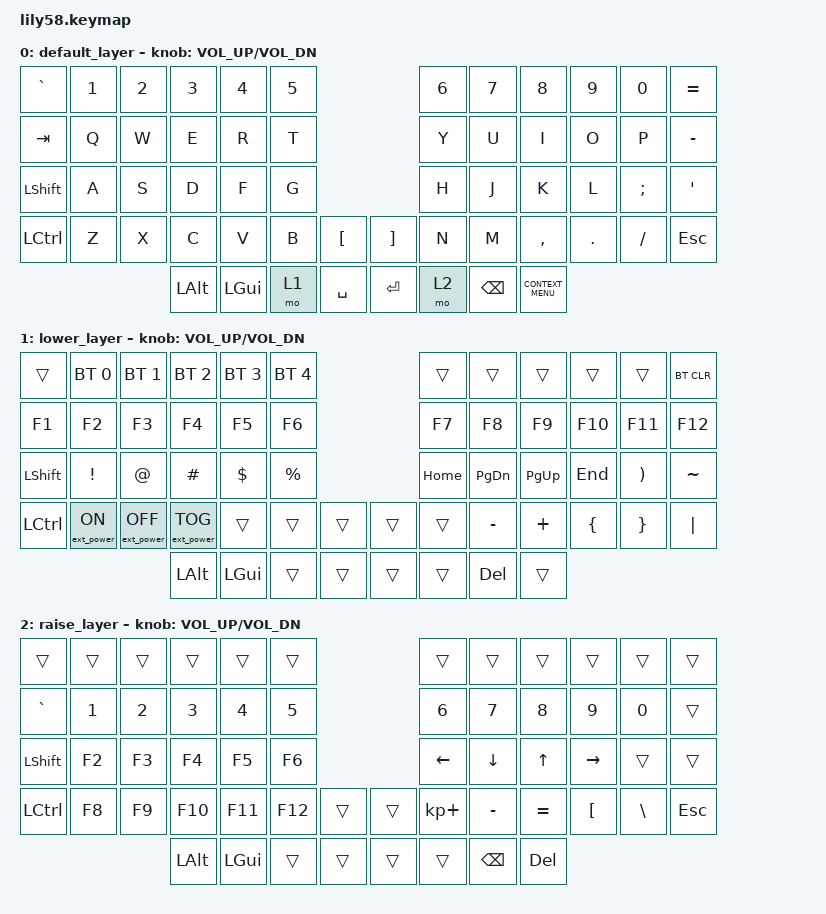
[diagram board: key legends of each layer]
/*
 * Copyright (c) 2020 The ZMK Contributors
 *
 * SPDX-License-Identifier: MIT
 */

#include <behaviors.dtsi>
#include <dt-bindings/zmk/bt.h>
#include <dt-bindings/zmk/ext_power.h>
#include <dt-bindings/zmk/keys.h>

/ {
    combos {
        compatible = "zmk,combos";

        combo_esc {
            timeout-ms = <50>;
            key-positions = <0 1>;
            bindings = <&kp ESC>;
        };
    };

    behaviors {
        ss_hs_modmorph: ss_hs_modmorph {
            compatible = "zmk,behavior-mod-morph";
            label = "SS_HS_MODMORPH";
            bindings = <&kp M>, <&kp RIGHT_BRACKET>;

            #binding-cells = <0>;
            mods = <(MOD_LSFT|MOD_RSFT)>;
        };

        kh_hs_tapdance: kh_hs_tapdance {
            compatible = "zmk,behavior-tap-dance";
            label = "KH_HS_TAPDANCE";
            #binding-cells = <0>;
            tapping-term-ms = <200>;
            bindings = <&kp LEFT_BRACKET>, <&kp RIGHT_BRACKET>;
        };

        hrm: hrm {
            compatible = "zmk,behavior-hold-tap";
            #binding-cells = <2>;
            flavor = "tap-preferred";
            tapping-term-ms = <200>;
            quick-tap-ms = <200>;
            require-prior-idle-ms = <125>;
            bindings = <&kp>, <&kp>;
        };
    };

    keymap {
        compatible = "zmk,keymap";

        default_layer {
            // ------------------------------------------------------------------------------------------------------------
            // |  ESC  |  1  |  2  |  3   |  4   |  5   |                   |  6   |  7    |  8    |  9   |   0   |   `   |
            // |  TAB  |  Q  |  W  |  E   |  R   |  T   |                   |  Y   |  U    |  I    |  O   |   P   |   -   |
            // |  CTRL |  A  |  S  |  D   |  F   |  G   |                   |  H   |  J    |  K    |  L   |   ;   |   '   |
            // | SHIFT |  Z  |  X  |  C   |  V   |  B   |   "["  |  |  "]"  |  N   |  M    |  ,    |  .   |   /   | SHIFT |
            //                     | ALT  | GUI  | LOWER|  SPACE |  | ENTER | RAISE| BSPC  | GUI   |

            bindings = <
&kp GRAVE       &kp N1  &kp N2  &kp N3    &kp N4    &kp N5                          &kp N6  &kp N7    &kp N8              &kp N9   &kp N0    &kp EQUAL
&kp TAB         &kp Q   &kp W   &kp E     &kp R     &kp T                           &kp Y   &kp U     &kp I               &kp O    &kp P     &kp MINUS
&kp LEFT_SHIFT  &kp A   &kp S   &kp D     &kp F     &kp G                           &kp H   &kp J     &kp K               &kp L    &kp SEMI  &kp SQT
&kp LCTRL       &kp Z   &kp X   &kp C     &kp V     &kp B   &kp LBKT     &kp RBKT   &kp N   &kp M     &kp COMMA           &kp DOT  &kp FSLH  &kp ESC
                                &kp LALT  &kp LGUI  &mo 1   &kp SPACE    &kp ENTER  &mo 2   &kp BSPC  &kp K_CONTEXT_MENU
            >;

            sensor-bindings = <&inc_dec_kp C_VOL_UP C_VOL_DN>;
        };

        lower_layer {
            // ------------------------------------------------------------------------------------------------------------
            // | BTCLR | BT1 | BT2 |  BT3 |  BT4 |  BT5 |                   |      |       |       |      |       |       |
            // |  F1   |  F2 |  F3 |  F4  |  F5  |  F6  |                   |  F7  |  F8   |  F9   |  F10 |  F11  |  F12  |
            // |   `   |  !  |  @  |  #   |  $   |  %   |                   |  ^   |  &    |  *    |  (   |   )   |   ~   |
            // |       |     |     |      |      |      |        |  |       |      |  _    |  +    |  {   |   }   |  "|"  |
            //                     |      |      |      |        |  |       |      |       |       |

            bindings = <
&trans          &bt BT_SEL 0      &bt BT_SEL 1       &bt BT_SEL 2       &bt BT_SEL 3  &bt BT_SEL 4                    &trans    &trans         &trans       &trans    &trans    &bt BT_CLR
&kp F1          &kp F2            &kp F3             &kp F4             &kp F5        &kp F6                          &kp F7    &kp F8         &kp F9       &kp F10   &kp F11   &kp F12
&kp LEFT_SHIFT  &kp EXCL          &kp AT             &kp HASH           &kp DOLLAR    &kp PRCNT                       &kp HOME  &kp PAGE_DOWN  &kp PAGE_UP  &kp END   &kp RPAR  &kp TILDE
&kp LCTRL       &ext_power EP_ON  &ext_power EP_OFF  &ext_power EP_TOG  &trans        &trans        &trans    &trans  &trans    &kp MINUS      &kp PLUS     &kp LBRC  &kp RBRC  &kp PIPE
                                                     &kp LEFT_ALT       &kp LGUI      &trans        &trans    &trans  &trans    &kp DEL        &trans
            >;

            sensor-bindings = <&inc_dec_kp C_VOL_UP C_VOL_DN>;
        };

        raise_layer {
            // ------------------------------------------------------------------------------------------------------------
            // |       |     |     |      |      |      |                   |      |       |       |      |       |       |
            // |   `   |  1  |  2  |  3   |  4   |  5   |                   |  6   |   7   |   8   |  9   |   0   |       |
            // |   F1  |  F2 |  F3 |  F4  |  F5  |  F6  |                   |      |   <-  |   v   |  ^   |  ->   |       |
            // |   F7  |  F8 |  F9 |  F10 |  F11 |  F12 |        |  |       |  +   |   -   |   =   |  [   |   ]   |   \   |
            //                     |      |      |      |        |  |       |      |       |       |

            bindings = <
&trans          &trans  &trans  &trans        &trans    &trans                     &trans          &trans          &trans        &trans     &trans         &trans
&kp GRAVE       &kp N1  &kp N2  &kp N3        &kp N4    &kp N5                     &kp N6          &kp N7          &kp N8        &kp N9     &kp N0         &trans
&kp LEFT_SHIFT  &kp F2  &kp F3  &kp F4        &kp F5    &kp F6                     &kp LEFT_ARROW  &kp DOWN_ARROW  &kp UP_ARROW  &kp RIGHT  &trans         &trans
&kp LCTRL       &kp F8  &kp F9  &kp F10       &kp F11   &kp F12  &trans    &trans  &kp KP_PLUS     &kp MINUS       &kp EQUAL     &kp LBKT   &kp BACKSLASH  &kp ESC
                                &kp LEFT_ALT  &kp LGUI  &trans   &trans    &trans  &trans          &kp BACKSPACE   &kp DEL
            >;

            sensor-bindings = <&inc_dec_kp C_VOL_UP C_VOL_DN>;
        };
    };
};
